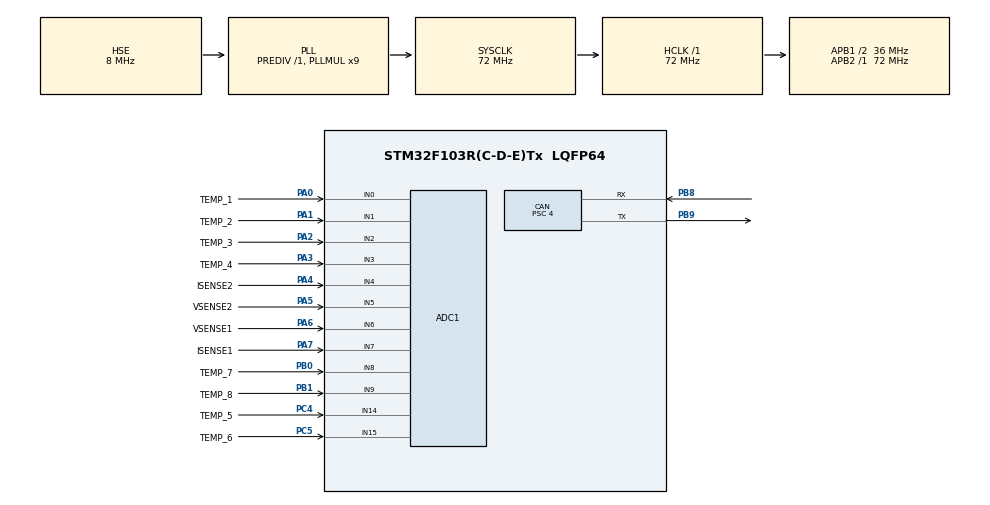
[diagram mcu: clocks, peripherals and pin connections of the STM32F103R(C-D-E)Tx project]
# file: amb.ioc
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ADC1.Channel-3\#ChannelRegularConversion=ADC_CHANNEL_0
ADC1.ContinuousConvMode=ENABLE
ADC1.EnableRegularConversion=ENABLE
ADC1.NbrOfConversionFlag=1
ADC1.Rank-3\#ChannelRegularConversion=1
ADC1.SamplingTime-3\#ChannelRegularConversion=ADC_SAMPLETIME_1CYCLE_5
ADC1.master=1
CAN.BS1=CAN_BS1_15TQ
CAN.BS2=CAN_BS2_2TQ
CAN.CalculateBaudRate=500000
CAN.CalculateTimeBit=2000
CAN.CalculateTimeQuantum=111.11111111111111
CAN.Prescaler=4
CAN.TTCM=DISABLE
IWDG.Prescaler=IWDG_PRESCALER_8
Mcu.Family=STM32F1
Mcu.Name=STM32F103R(C-D-E)Tx
Mcu.Package=LQFP64
NVIC.PriorityGroup=NVIC_PRIORITYGROUP_4
PA0-WKUP.GPIO_Label=TEMP_1
PA0-WKUP.Signal=ADCx_IN0
PA1.GPIO_Label=TEMP_2
PA1.Signal=ADCx_IN1
PA13.GPIO_Label=SWDIO
PA13.Mode=Serial_Wire
PA13.Signal=SYS_JTMS-SWDIO
PA14.GPIO_Label=SWCLK
PA14.Mode=Serial_Wire
PA14.Signal=SYS_JTCK-SWCLK
PA2.GPIO_Label=TEMP_3
PA2.Signal=ADCx_IN2
PA3.GPIO_Label=TEMP_4
PA3.Signal=ADCx_IN3
PA4.GPIO_Label=ISENSE2
PA4.Signal=ADCx_IN4
PA5.GPIO_Label=VSENSE2
PA5.Signal=ADCx_IN5
PA6.GPIO_Label=VSENSE1
PA6.Signal=ADCx_IN6
PA7.GPIO_Label=ISENSE1
PA7.Signal=ADCx_IN7
PB0.GPIO_Label=TEMP_7
PB0.Signal=ADCx_IN8
PB1.GPIO_Label=TEMP_8
PB1.Signal=ADCx_IN9
PB8.Mode=CAN_Activate
PB8.Signal=CAN_RX
PB9.Mode=CAN_Activate
PB9.Signal=CAN_TX
PC4.GPIO_Label=TEMP_5
PC4.Signal=ADCx_IN14
PC5.GPIO_Label=TEMP_6
PC5.Signal=ADCx_IN15
PD0-OSC_IN.Mode=HSE-External-Oscillator
PD0-OSC_IN.Signal=RCC_OSC_IN
PD1-OSC_OUT.Mode=HSE-External-Oscillator
PD1-OSC_OUT.Signal=RCC_OSC_OUT
ProjectManager.HeapSize=0x200
ProjectManager.StackSize=0x400
ProjectManager.TargetToolchain=STM32CubeIDE
RCC.ADCPresc=RCC_ADCPCLK2_DIV6
RCC.AHBFreq_Value=72000000
RCC.APB1CLKDivider=RCC_HCLK_DIV2
RCC.APB1Freq_Value=36000000
RCC.APB1TimFreq_Value=72000000
RCC.APB2Freq_Value=72000000
RCC.APB2TimFreq_Value=72000000
RCC.HCLKFreq_Value=72000000
RCC.PLLMUL=RCC_PLL_MUL9
RCC.PLLSourceVirtual=RCC_PLLSOURCE_HSE
RCC.SYSCLKFreq_VALUE=72000000
RCC.SYSCLKSource=RCC_SYSCLKSOURCE_PLLCLK
RCC.USBFreq_Value=72000000
SH.ADCx_IN0.0=ADC1_IN0,IN0
SH.ADCx_IN1.0=ADC1_IN1,IN1
SH.ADCx_IN14.0=ADC1_IN14,IN14
SH.ADCx_IN15.0=ADC1_IN15,IN15
SH.ADCx_IN2.0=ADC1_IN2,IN2
SH.ADCx_IN3.0=ADC1_IN3,IN3
SH.ADCx_IN4.0=ADC1_IN4,IN4
SH.ADCx_IN5.0=ADC1_IN5,IN5
SH.ADCx_IN6.0=ADC1_IN6,IN6
SH.ADCx_IN7.0=ADC1_IN7,IN7
SH.ADCx_IN8.0=ADC1_IN8,IN8
SH.ADCx_IN9.0=ADC1_IN9,IN9
TIM1.Period=9999
TIM1.Prescaler=47999
TIM1.TIM_MasterOutputTrigger=TIM_TRGO_UPDATE
VP_IWDG_VS_IWDG.Mode=IWDG_Activate
VP_TIM1_VS_ClockSourceINT.Mode=Internal
board=custom

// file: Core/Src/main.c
/* USER CODE BEGIN Header */
/**
  ******************************************************************************
  * @file           : main.c
  * @brief          : Main program body
  ******************************************************************************
  * @attention
  *
  * <h2><center>&copy; Copyright (c) 2021 STMicroelectronics.
  * All rights reserved.</center></h2>
  *
  * This software component is licensed by ST under BSD 3-Clause license,
  * the "License"; You may not use this file except in compliance with the
  * License. You may obtain a copy of the License at:
  *                        opensource.org/licenses/BSD-3-Clause
  *
  ******************************************************************************
  */
/* USER CODE END Header */
#include "main.h"
#include "adc.h"
#include "can.h"
#include "iwdg.h"
#include "tim.h"
#include "gpio.h"

/* USER CODE BEGIN Includes */
#include <math.h>
#include <stdint.h>
#include <stdlib.h>
#include <stdio.h>

/* USER CODE END Includes */

/* USER CODE BEGIN PD */
/*
 *
 * Constant Definitions
 *
 *
 */
#define DATA_LENGTH 8
#define TABLE_SIZE 166

/* USER CODE END PD */

/* USER CODE BEGIN PV */
uint16_t adc_data[ADC_BUF_SIZE]; // array to hold the temperature readings, and voltage and current readings
uint8_t conv_flag = 0; // flag to indicate when to convert the raw data from ADC to temperature
uint8_t idx = 0; // index for converting values in array
uint32_t txMailbox;

/* USER CODE END PV */

void SystemClock_Config(void);
/* USER CODE BEGIN PFP */
float volt2temp(uint32_t raw_value);
/* USER CODE END PFP */

/* USER CODE BEGIN 0 */

uint32_t ADC_VALUES[ADC_CHANNELS] = {0};	// unprocessed ADC Values
union FloatBytes CONVERTED_VALUES[ADC_CHANNELS] = {0};	// processed values

void Convert_Values(uint8_t index) {
	/* Convert value with appropriate relationship given the index */

	switch(index) {
		case VSENSE1:
			/* Relationship for converting ADC for VSENSE1 and modify CONVERTED_VALUES[index] refer to the schematic */
			/* V =  (3.3 * ADC_VAL / 2^12) * (2/3.3) * 50.9 */
			CONVERTED_VALUES[index].float_value = (float)(2/3.3) * 50.9 * (3.3 * ADC_VALUES[index] / pow(2, 12)) + VSENSE_OFFSET_VOLTS;
			break;
		case VSENSE2:
			/* Relationship for converting ADC for VSENSE1 and modify CONVERTED_VALUES[index] */
			CONVERTED_VALUES[index].float_value = (float)(2/3.3) * 50.9 * (3.3 * ADC_VALUES[index] / pow(2, 12)) + VSENSE_OFFSET_VOLTS;
			break;
		case ISENSE1:
			/* ISENSE [V] = 0.11 * I [A] + 1.65 */
			CONVERTED_VALUES[index].float_value = (((3.3 * ((float)ADC_VALUES[index] / pow(2, 12))) - ISENSE_OFFSET_VOLTAGE) / 0.11) - ISENSE_OFFSET_CURRENT;
			break;
		case ISENSE2:
			CONVERTED_VALUES[index].float_value = (((3.3 * ((float)ADC_VALUES[index] / pow(2, 12))) - ISENSE_OFFSET_VOLTAGE) / 0.11) - ISENSE_OFFSET_CURRENT;
			break;
		case TEMP_1:
			/* TEMP_1 use volt2temp using values obtained from the NXFT15XH103FA2B090 Datasheet */
			CONVERTED_VALUES[index].float_value = volt2temp((uint32_t)ADC_VALUES[index]);
			break;
		case TEMP_2:
			/* TEMP_2 use volt2temp using values obtained from the NXFT15XH103FA2B090 Datasheet */
			CONVERTED_VALUES[index].float_value = volt2temp((uint32_t)ADC_VALUES[index]);
			break;
		case TEMP_3:
			/* TEMP_3 use volt2temp using values obtained from the NXFT15XH103FA2B090 Datasheet */
			CONVERTED_VALUES[index].float_value = volt2temp((uint32_t)ADC_VALUES[index]);
			break;
		case TEMP_4:
			/* TEMP_4 use volt2temp using values obtained from the NXFT15XH103FA2B090 Datasheet */
			CONVERTED_VALUES[index].float_value = volt2temp((uint32_t)ADC_VALUES[index]);
			break;
		case TEMP_5:
			/* TEMP_5 use volt2temp using values obtained from the NXFT15XH103FA2B090 Datasheet */
			CONVERTED_VALUES[index].float_value = volt2temp((uint32_t)ADC_VALUES[index]);
			break;
		case TEMP_6:
			/* TEMP_6 use volt2temp using values obtained from the NXFT15XH103FA2B090 Datasheet */
			CONVERTED_VALUES[index].float_value = volt2temp((uint32_t)ADC_VALUES[index]);
			break;
		case TEMP_7:
			/* TEMP_7 use volt2temp using values obtained from the NXFT15XH103FA2B090 Datasheet */
			CONVERTED_VALUES[index].float_value = volt2temp((uint32_t)ADC_VALUES[index]);
			break;
		case TEMP_8:
			/* TEMP_8 use volt2temp using values obtained from the NXFT15XH103FA2B090 Datasheet */
			CONVERTED_VALUES[index].float_value = volt2temp((uint32_t)ADC_VALUES[index]);
			break;
	}
}

/**
 * Method to convert a given ADC Channel value into a Temperature value
 *
 * @param raw_value the raw thermistor value from the ADC
 * @param REF the reference voltage for the board typically 3.3V
 *
 * @return the float value for the converted temperature in Celsius
 */

float volt2temp(uint32_t raw_value){ //https://www.vishay.com/docs/29049/ntcle100.pdf --> refer to this for the new thermistors
		const float beta = 3977; //from NXFT15XH103FA2B090 data sheet B25/50 Value
        const float room_temp = 298.15; // kelvin
         const float R_room_temp = 10000.0; // resistance at room temperature (25C)

	    const float R_balance = 3300; // from AMB PCB Schematic component R4.1 to R4.8
	    float R_therm;
	    float Vs = 3.3; //reference voltage from board
	    float Vout = 3.3;
	    double temp_celsius = 0.0;
	    double temp_kelvin = 0.0;

	    Vout = 3.3 * raw_value / pow(2, 12); //raw adc value to voltage
	    R_therm = R_balance * ((Vs / Vout) - 1);
	    temp_kelvin = (beta * room_temp)/ (beta + (room_temp * logf(R_therm / R_room_temp)));
	    temp_celsius = temp_kelvin - 273.15;

	  return temp_celsius;
}

/* USER CODE END 0 */

int main(void)
{

  /* MCU Configuration--------------------------------------------------------*/

  /* Reset of all peripherals, Initializes the Flash interface and the Systick. */
  HAL_Init();

  /* Configure the system clock */
  SystemClock_Config();

  /* Initialize all configured peripherals */
  MX_GPIO_Init();
  MX_ADC1_Init();
  MX_TIM1_Init();
  MX_CAN_Init();
  MX_IWDG_Init();
  /* USER CODE BEGIN 2 */
  HAL_CAN_Start(&hcan);

  HAL_ADC_Start(&hadc1);

  /*
   *
   * Manually written code starts here
   *
   *
   */

  if (HAL_OK != HAL_TIM_Base_Start(&htim1)) {
	  Error_Handler();
  }

  CAN_TxHeaderTypeDef txHeaderVoltage = {
  		.StdId = 0x701,
  		.ExtId = 0x0000,
  		.IDE = CAN_ID_STD,
  		.RTR = CAN_RTR_DATA,
  		.DLC = DATA_LENGTH};

  CAN_TxHeaderTypeDef txHeaderCurrent = {
  		.StdId = 0x702,
  		.ExtId = 0x0000,
  		.IDE = CAN_ID_STD,
  		.RTR = CAN_RTR_DATA,
  		.DLC = DATA_LENGTH};

  CAN_TxHeaderTypeDef txHeaderTemp = {
  		.StdId = 0x703,
  		.ExtId = 0x0000,
  		.IDE = CAN_ID_STD,
  		.RTR = CAN_RTR_DATA,
  		.DLC = DATA_LENGTH};

  /* USER CODE END 2 */

  /* Infinite loop */
  while (1)
  {

    /* USER CODE BEGIN 3 */

// Only refresh watchdog when not in debug mode
#ifndef DEBUG
	  /*Set the watchdog timer, refer to https://controllerstech.com/iwdg-and-wwdg-in-stm32/ */
	  HAL_IWDG_Refresh(&hiwdg);
#endif
	  /* Read ADC, process, then output to CANbus */

	  /* VSENSE1 */
	  ADC_Select((uint8_t) VSENSE1);
	  HAL_ADC_PollForConversion(&hadc1, 1000);
	  ADC_VALUES[VSENSE1] = HAL_ADC_GetValue(&hadc1);
	  Convert_Values((uint8_t) VSENSE1);

	  /* VSENSE 2 */
	  ADC_Select((uint8_t) VSENSE2);
	  HAL_ADC_PollForConversion(&hadc1, 1000);
	  ADC_VALUES[VSENSE2] = HAL_ADC_GetValue(&hadc1);
	  Convert_Values((uint8_t) VSENSE2);

	  /* ISENSE1 */
	  ADC_Select((uint8_t) ISENSE1);
	  HAL_ADC_PollForConversion(&hadc1, 1000);
	  ADC_VALUES[ISENSE1] = HAL_ADC_GetValue(&hadc1);
	  Convert_Values((uint8_t) ISENSE1);

	  /* ISENSE2 */
	  ADC_Select((uint8_t) ISENSE2);
	  HAL_ADC_PollForConversion(&hadc1, 1000);
	  ADC_VALUES[ISENSE2] = HAL_ADC_GetValue(&hadc1);
	  Convert_Values((uint8_t) ISENSE2);

	  /* TEMP_1 */
	  ADC_Select((uint8_t) TEMP_1);
	  HAL_ADC_PollForConversion(&hadc1, 1000);
	  ADC_VALUES[TEMP_1] = HAL_ADC_GetValue(&hadc1);
	  Convert_Values((uint8_t) TEMP_1);

	  /* TEMP_2 */
	  ADC_Select((uint8_t) TEMP_2);
	  HAL_ADC_PollForConversion(&hadc1, 1000);
	  ADC_VALUES[TEMP_2] = HAL_ADC_GetValue(&hadc1);
	  Convert_Values((uint8_t) TEMP_2);

	  /* TEMP_3 */
	  ADC_Select((uint8_t) TEMP_3);
	  HAL_ADC_PollForConversion(&hadc1, 1000);
	  ADC_VALUES[TEMP_3] = HAL_ADC_GetValue(&hadc1);
	  Convert_Values((uint8_t) TEMP_3);

	  /* TEMP_4 */
	  ADC_Select((uint8_t) TEMP_4);
	  HAL_ADC_PollForConversion(&hadc1, 1000);
	  ADC_VALUES[TEMP_4] = HAL_ADC_GetValue(&hadc1);
	  Convert_Values((uint8_t) TEMP_4);

	  /* TEMP_5 */
	  ADC_Select((uint8_t) TEMP_5);
	  HAL_ADC_PollForConversion(&hadc1, 1000);
	  ADC_VALUES[TEMP_5] = HAL_ADC_GetValue(&hadc1);
	  Convert_Values((uint8_t) TEMP_5);

	  /* TEMP_6 */
	  ADC_Select((uint8_t) TEMP_6);
	  HAL_ADC_PollForConversion(&hadc1, 1000);
	  ADC_VALUES[TEMP_6] = HAL_ADC_GetValue(&hadc1);
	  Convert_Values((uint8_t) TEMP_6);

	  /* TEMP_7 */
	  ADC_Select((uint8_t) TEMP_7);
 	  HAL_ADC_PollForConversion(&hadc1, 1000);
	  ADC_VALUES[TEMP_7] = HAL_ADC_GetValue(&hadc1);
	  Convert_Values((uint8_t) TEMP_7);

	  /* TEMP_8 */
	  ADC_Select((uint8_t) TEMP_8);
	  HAL_ADC_PollForConversion(&hadc1, 1000);
	  ADC_VALUES[TEMP_8] = HAL_ADC_GetValue(&hadc1);
	  Convert_Values((uint8_t) TEMP_8);

	  uint8_t voltage_data[DATA_LENGTH] = {
			  CONVERTED_VALUES[VSENSE1].bytes[0],
			  CONVERTED_VALUES[VSENSE1].bytes[1],
		      CONVERTED_VALUES[VSENSE1].bytes[2],
			  CONVERTED_VALUES[VSENSE1].bytes[3],
			  CONVERTED_VALUES[VSENSE2].bytes[0],
			  CONVERTED_VALUES[VSENSE2].bytes[1],
			  CONVERTED_VALUES[VSENSE2].bytes[2],
			  CONVERTED_VALUES[VSENSE2].bytes[3]};

	  uint8_t current_data[DATA_LENGTH] = {
			  CONVERTED_VALUES[ISENSE1].bytes[0],
	  		  CONVERTED_VALUES[ISENSE1].bytes[1],
	  		  CONVERTED_VALUES[ISENSE1].bytes[2],
	  	      CONVERTED_VALUES[ISENSE1].bytes[3],
	  		  CONVERTED_VALUES[ISENSE2].bytes[0],
	  		  CONVERTED_VALUES[ISENSE2].bytes[1],
	  		  CONVERTED_VALUES[ISENSE2].bytes[2],
	  		  CONVERTED_VALUES[ISENSE2].bytes[3]};

	  uint8_t temp_data[DATA_LENGTH] = {
			  (uint8_t)CONVERTED_VALUES[TEMP_1].float_value,
			  (uint8_t)CONVERTED_VALUES[TEMP_2].float_value,
			  (uint8_t)CONVERTED_VALUES[TEMP_3].float_value,
			  (uint8_t)CONVERTED_VALUES[TEMP_4].float_value,
			  (uint8_t)CONVERTED_VALUES[TEMP_5].float_value,
			  (uint8_t)CONVERTED_VALUES[TEMP_6].float_value,
			  (uint8_t)CONVERTED_VALUES[TEMP_7].float_value,
			  (uint8_t)CONVERTED_VALUES[TEMP_8].float_value};

	  HAL_CAN_AddTxMessage(&hcan, &txHeaderVoltage, voltage_data, &txMailbox);
	  HAL_CAN_AddTxMessage(&hcan, &txHeaderCurrent, current_data, &txMailbox);
	  HAL_CAN_AddTxMessage(&hcan, &txHeaderTemp, temp_data, &txMailbox);

	  HAL_Delay (250);
  }
  /* USER CODE END 3 */
}

void SystemClock_Config(void)
{
  RCC_OscInitTypeDef RCC_OscInitStruct = {0};
  RCC_ClkInitTypeDef RCC_ClkInitStruct = {0};
  RCC_PeriphCLKInitTypeDef PeriphClkInit = {0};

  /** Initializes the RCC Oscillators according to the specified parameters
  * in the RCC_OscInitTypeDef structure.
  */
  RCC_OscInitStruct.OscillatorType = RCC_OSCILLATORTYPE_LSI|RCC_OSCILLATORTYPE_HSE;
  RCC_OscInitStruct.HSEState = RCC_HSE_ON;
  RCC_OscInitStruct.HSEPredivValue = RCC_HSE_PREDIV_DIV1;
  RCC_OscInitStruct.HSIState = RCC_HSI_ON;
  RCC_OscInitStruct.LSIState = RCC_LSI_ON;
  RCC_OscInitStruct.PLL.PLLState = RCC_PLL_ON;
  RCC_OscInitStruct.PLL.PLLSource = RCC_PLLSOURCE_HSE;
  RCC_OscInitStruct.PLL.PLLMUL = RCC_PLL_MUL9;
  if (HAL_RCC_OscConfig(&RCC_OscInitStruct) != HAL_OK)
  {
    Error_Handler();
  }

  /** Initializes the CPU, AHB and APB buses clocks
  */
  RCC_ClkInitStruct.ClockType = RCC_CLOCKTYPE_HCLK|RCC_CLOCKTYPE_SYSCLK
                              |RCC_CLOCKTYPE_PCLK1|RCC_CLOCKTYPE_PCLK2;
  RCC_ClkInitStruct.SYSCLKSource = RCC_SYSCLKSOURCE_PLLCLK;
  RCC_ClkInitStruct.AHBCLKDivider = RCC_SYSCLK_DIV1;
  RCC_ClkInitStruct.APB1CLKDivider = RCC_HCLK_DIV2;
  RCC_ClkInitStruct.APB2CLKDivider = RCC_HCLK_DIV1;

  if (HAL_RCC_ClockConfig(&RCC_ClkInitStruct, FLASH_LATENCY_2) != HAL_OK)
  {
    Error_Handler();
  }
  PeriphClkInit.PeriphClockSelection = RCC_PERIPHCLK_ADC;
  PeriphClkInit.AdcClockSelection = RCC_ADCPCLK2_DIV6;
  if (HAL_RCCEx_PeriphCLKConfig(&PeriphClkInit) != HAL_OK)
  {
    Error_Handler();
  }
}

/* USER CODE BEGIN 4 */
void HAL_ADC_ConvCpltCallback(ADC_HandleTypeDef* hadc)
{
	if(HAL_ADC_Stop_DMA(&hadc1) != HAL_OK)
		Error_Handler();

	conv_flag = 1; // flag set to 1 signals to the infinite while(1) loop to process the raw ADC data and convert to a temp value
}
/* USER CODE END 4 */

void Error_Handler(void)
{
  __disable_irq();
  while (1)
  {
  }
}
